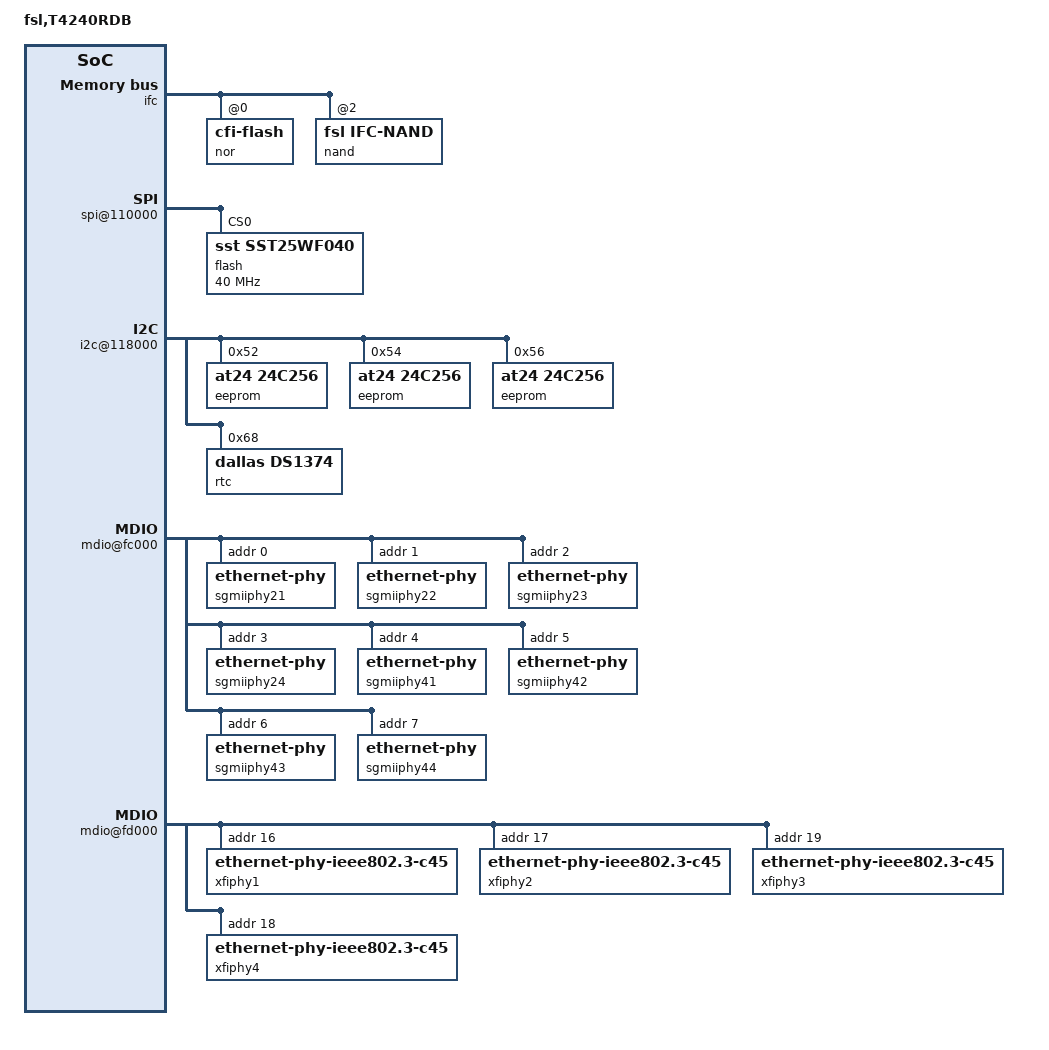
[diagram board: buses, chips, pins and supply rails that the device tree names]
/*
 * T4240RDB Device Tree Source
 *
 * Copyright 2014 - 2015 Freescale Semiconductor Inc.
 *
 * Redistribution and use in source and binary forms, with or without
 * modification, are permitted provided that the following conditions are met:
 *     * Redistributions of source code must retain the above copyright
 *	 notice, this list of conditions and the following disclaimer.
 *     * Redistributions in binary form must reproduce the above copyright
 *	 notice, this list of conditions and the following disclaimer in the
 *	 documentation and/or other materials provided with the distribution.
 *     * Neither the name of Freescale Semiconductor nor the
 *	 names of its contributors may be used to endorse or promote products
 *	 derived from this software without specific prior written permission.
 *
 *
 * ALTERNATIVELY, this software may be distributed under the terms of the
 * GNU General Public License ("GPL") as published by the Free Software
 * Foundation, either version 2 of that License or (at your option) any
 * later version.
 *
 * THIS SOFTWARE IS PROVIDED BY Freescale Semiconductor "AS IS" AND ANY
 * EXPRESS OR IMPLIED WARRANTIES, INCLUDING, BUT NOT LIMITED TO, THE IMPLIED
 * WARRANTIES OF MERCHANTABILITY AND FITNESS FOR A PARTICULAR PURPOSE ARE
 * DISCLAIMED. IN NO EVENT SHALL Freescale Semiconductor BE LIABLE FOR ANY
 * DIRECT, INDIRECT, INCIDENTAL, SPECIAL, EXEMPLARY, OR CONSEQUENTIAL DAMAGES
 * (INCLUDING, BUT NOT LIMITED TO, PROCUREMENT OF SUBSTITUTE GOODS OR SERVICES;
 * LOSS OF USE, DATA, OR PROFITS; OR BUSINESS INTERRUPTION) HOWEVER CAUSED AND
 * ON ANY THEORY OF LIABILITY, WHETHER IN CONTRACT, STRICT LIABILITY, OR TORT
 * (INCLUDING NEGLIGENCE OR OTHERWISE) ARISING IN ANY WAY OUT OF THE USE OF THIS
 * SOFTWARE, EVEN IF ADVISED OF THE POSSIBILITY OF SUCH DAMAGE.
 */

/include/ "t4240si-pre.dtsi"

/ {
	model = "fsl,T4240RDB";
	compatible = "fsl,T4240RDB";
	#address-cells = <2>;
	#size-cells = <2>;
	interrupt-parent = <&mpic>;

	aliases {
		sgmii_phy21 = &sgmiiphy21;
		sgmii_phy22 = &sgmiiphy22;
		sgmii_phy23 = &sgmiiphy23;
		sgmii_phy24 = &sgmiiphy24;
		sgmii_phy41 = &sgmiiphy41;
		sgmii_phy42 = &sgmiiphy42;
		sgmii_phy43 = &sgmiiphy43;
		sgmii_phy44 = &sgmiiphy44;
	};

	ifc: localbus@ffe124000 {
		reg = <0xf 0xfe124000 0 0x2000>;
		ranges = <0 0 0xf 0xe8000000 0x08000000
			  2 0 0xf 0xff800000 0x00010000
			  3 0 0xf 0xffdf0000 0x00008000>;

		nor@0,0 {
			#address-cells = <1>;
			#size-cells = <1>;
			compatible = "cfi-flash";
			reg = <0x0 0x0 0x8000000>;

			bank-width = <2>;
			device-width = <1>;
		};

		nand@2,0 {
			#address-cells = <1>;
			#size-cells = <1>;
			compatible = "fsl,ifc-nand";
			reg = <0x2 0x0 0x10000>;
		};
	};

	memory {
		device_type = "memory";
	};

	reserved-memory {
		#address-cells = <2>;
		#size-cells = <2>;
		ranges;

		bman_fbpr: bman-fbpr {
			size = <0 0x1000000>;
			alignment = <0 0x1000000>;
		};
		qman_fqd: qman-fqd {
			size = <0 0x400000>;
			alignment = <0 0x400000>;
		};
		qman_pfdr: qman-pfdr {
			size = <0 0x2000000>;
			alignment = <0 0x2000000>;
		};
	};

	dcsr: dcsr@f00000000 {
		ranges = <0x00000000 0xf 0x00000000 0x01072000>;
	};

	bportals: bman-portals@ff4000000 {
		ranges = <0x0 0xf 0xf4000000 0x2000000>;
	};

	qportals: qman-portals@ff6000000 {
		ranges = <0x0 0xf 0xf6000000 0x2000000>;
	};

	soc: soc@ffe000000 {
		ranges = <0x00000000 0xf 0xfe000000 0x1000000>;
		reg = <0xf 0xfe000000 0 0x00001000>;
		spi@110000 {
			flash@0 {
				#address-cells = <1>;
				#size-cells = <1>;
				compatible = "sst,sst25wf040", "jedec,spi-nor";
				reg = <0>;
				spi-max-frequency = <40000000>; /* input clock */
			};
		};

		i2c@118000 {
			eeprom@52 {
				compatible = "at24,24c256";
				reg = <0x52>;
			};
			eeprom@54 {
				compatible = "at24,24c256";
				reg = <0x54>;
			};
			eeprom@56 {
				compatible = "at24,24c256";
				reg = <0x56>;
			};
			rtc@68 {
				compatible = "dallas,ds1374";
				reg = <0x68>;
				interrupts = <0x1 0x1 0 0>;
			};
		};

		sdhc@114000 {
			voltage-ranges = <1800 1800 3300 3300>;
		};

		fman@400000 {
			ethernet@e0000 {
				phy-handle = <&sgmiiphy21>;
				phy-connection-type = "sgmii";
			};

			ethernet@e2000 {
				phy-handle = <&sgmiiphy22>;
				phy-connection-type = "sgmii";
			};

			ethernet@e4000 {
				phy-handle = <&sgmiiphy23>;
				phy-connection-type = "sgmii";
			};

			ethernet@e6000 {
				phy-handle = <&sgmiiphy24>;
				phy-connection-type = "sgmii";
			};

			ethernet@e8000 {
				status = "disabled";
			};

			ethernet@ea000 {
				status = "disabled";
			};

			ethernet@f0000 {
				phy-handle = <&xfiphy1>;
				phy-connection-type = "xgmii";
			};

			ethernet@f2000 {
				phy-handle = <&xfiphy2>;
				phy-connection-type = "xgmii";
			};
		};

		fman@500000 {
			ethernet@e0000 {
				phy-handle = <&sgmiiphy41>;
				phy-connection-type = "sgmii";
			};

			ethernet@e2000 {
				phy-handle = <&sgmiiphy42>;
				phy-connection-type = "sgmii";
			};

			ethernet@e4000 {
				phy-handle = <&sgmiiphy43>;
				phy-connection-type = "sgmii";
			};

			ethernet@e6000 {
				phy-handle = <&sgmiiphy44>;
				phy-connection-type = "sgmii";
			};

			ethernet@e8000 {
				status = "disabled";
			};

			ethernet@ea000 {
				status = "disabled";
			};

			ethernet@f0000 {
				phy-handle = <&xfiphy3>;
				phy-connection-type = "xgmii";
			};

			ethernet@f2000 {
				phy-handle = <&xfiphy4>;
				phy-connection-type = "xgmii";
			};

			mdio@fc000 {
				sgmiiphy21: ethernet-phy@0 {
					reg = <0x0>;
				};

				sgmiiphy22: ethernet-phy@1 {
					reg = <0x1>;
				};

				sgmiiphy23: ethernet-phy@2 {
					reg = <0x2>;
				};

				sgmiiphy24: ethernet-phy@3 {
					reg = <0x3>;
				};

				sgmiiphy41: ethernet-phy@4 {
					reg = <0x4>;
				};

				sgmiiphy42: ethernet-phy@5 {
					reg = <0x5>;
				};

				sgmiiphy43: ethernet-phy@6 {
					reg = <0x6>;
				};

				sgmiiphy44: ethernet-phy@7 {
					reg = <0x7>;
				};
			};

			mdio@fd000 {
				xfiphy1: ethernet-phy@10 {
					compatible = "ethernet-phy-ieee802.3-c45";
					reg = <0x10>;
				};

				xfiphy2: ethernet-phy@11 {
					compatible = "ethernet-phy-ieee802.3-c45";
					reg = <0x11>;
				};

				xfiphy3: ethernet-phy@13 {
					compatible = "ethernet-phy-ieee802.3-c45";
					reg = <0x13>;
				};

				xfiphy4: ethernet-phy@12 {
					compatible = "ethernet-phy-ieee802.3-c45";
					reg = <0x12>;
				};
			};
		};
	};

	pci0: pcie@ffe240000 {
		reg = <0xf 0xfe240000 0 0x10000>;
		ranges = <0x02000000 0 0xe0000000 0xc 0x00000000 0x0 0x20000000
			  0x01000000 0 0x00000000 0xf 0xf8000000 0x0 0x00010000>;
		pcie@0 {
			ranges = <0x02000000 0 0xe0000000
				  0x02000000 0 0xe0000000
				  0 0x20000000

				  0x01000000 0 0x00000000
				  0x01000000 0 0x00000000
				  0 0x00010000>;
		};
	};

	pci1: pcie@ffe250000 {
		reg = <0xf 0xfe250000 0 0x10000>;
		ranges = <0x02000000 0x0 0xe0000000 0xc 0x20000000 0x0 0x20000000
			  0x01000000 0x0 0x00000000 0xf 0xf8010000 0x0 0x00010000>;
		pcie@0 {
			ranges = <0x02000000 0 0xe0000000
				  0x02000000 0 0xe0000000
				  0 0x20000000

				  0x01000000 0 0x00000000
				  0x01000000 0 0x00000000
				  0 0x00010000>;
		};
	};

	pci2: pcie@ffe260000 {
		reg = <0xf 0xfe260000 0 0x1000>;
		ranges = <0x02000000 0 0xe0000000 0xc 0x40000000 0 0x20000000
			  0x01000000 0 0x00000000 0xf 0xf8020000 0 0x00010000>;
		pcie@0 {
			ranges = <0x02000000 0 0xe0000000
				  0x02000000 0 0xe0000000
				  0 0x20000000

				  0x01000000 0 0x00000000
				  0x01000000 0 0x00000000
				  0 0x00010000>;
		};
	};

	pci3: pcie@ffe270000 {
		reg = <0xf 0xfe270000 0 0x10000>;
		ranges = <0x02000000 0 0xe0000000 0xc 0x60000000 0 0x20000000
			  0x01000000 0 0x00000000 0xf 0xf8030000 0 0x00010000>;
		pcie@0 {
			ranges = <0x02000000 0 0xe0000000
				  0x02000000 0 0xe0000000
				  0 0x20000000

				  0x01000000 0 0x00000000
				  0x01000000 0 0x00000000
				  0 0x00010000>;
		};
	};

	rio: rapidio@ffe0c0000 {
		reg = <0xf 0xfe0c0000 0 0x11000>;

		port1 {
			ranges = <0 0 0xc 0x20000000 0 0x10000000>;
		};
		port2 {
			ranges = <0 0 0xc 0x30000000 0 0x10000000>;
		};
	};
};

/include/ "t4240si-post.dtsi"
